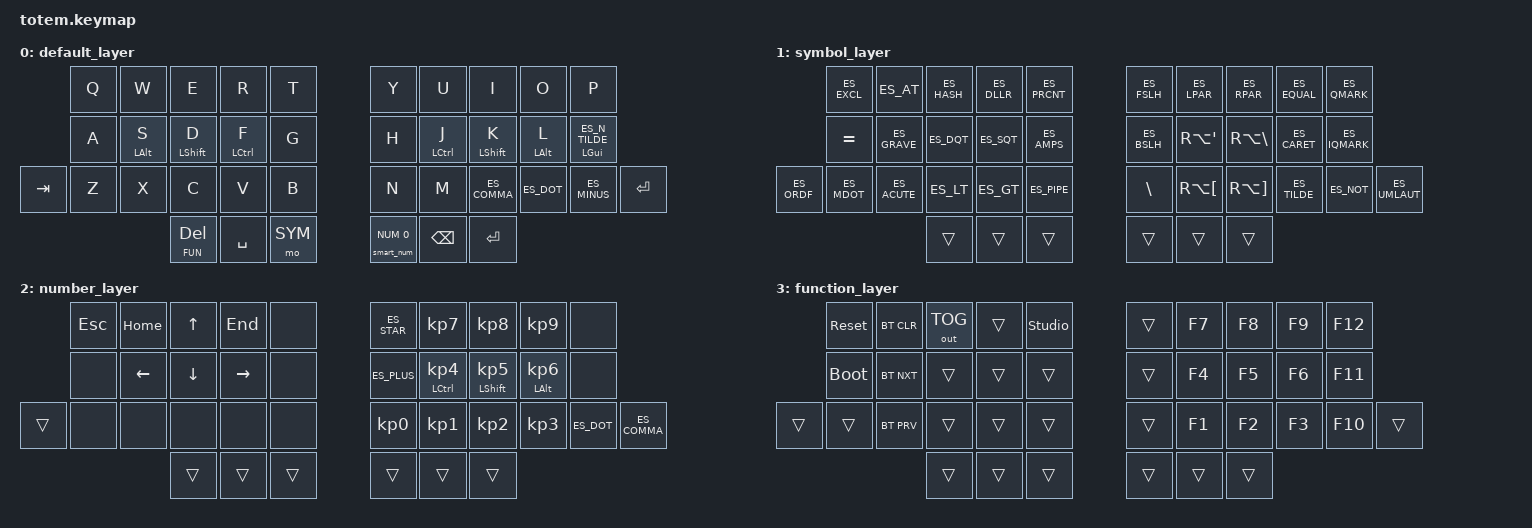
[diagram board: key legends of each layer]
//
//                                                        ▀▀▀▀▀     ▀▀▀▀▀          ▀▀█▀▀
//                                                        ▄▀▀▀▄  ▄  ▄▀▀▀▄  ▄  ▄▀▀▀▄  █  ▄▀▀▀▄
//                                                        █   █  █  █   █  █  █   █  █  █   █
//                                                         ▀▀▀   █   ▀▀▀   █   ▀▀▀   ▀   ▀▀▀
//                                                               █      ▄▄▄█▄▄▄    █   █  
//                                                               ▀      █  █  █     █▄█
//                                                             ▀▀▀▀▀    █  █  █      ▀
//                                                                      ▀  ▀  ▀
//
// ▄▄▄▄▄▄▄▄▄▄▄▄▄▄▄▄▄▄▄▄▄▄▄▄▄▄▄▄▄▄▄▄▄▄▄▄▄▄▄▄▄▄▄▄▄▄▄▄▄▄▄▄▄▄▄▄▄▄▄▄▄▄▄▄▄▄▄▄▄▄▄▄▄▄▄▄▄▄▄▄▄▄▄▄▄▄▄▄▄▄▄▄▄▄▄▄▄▄▄▄▄▄▄▄▄▄▄▄▄▄▄▄▄▄▄▄▄▄▄▄▄▄▄▄▄▄▄▄▄▄▄▄▄▄▄▄▄▄▄▄▄▄▄▄▄▄▄▄▄


#include <behaviors.dtsi>
#include <dt-bindings/zmk/keys.h>
#include <dt-bindings/zmk/bt.h>

#include <dt-bindings/zmk/outputs.h>

// Helpers for Spanish layout 
#include "keys_es.h" 
#include "zmk-helpers/helper.h"
// Totem key position helper       
#include "./keypos_totem.h"

// urob/zmk-auto-layer module imports
#include <behaviors/num_word.dtsi>

// Layers definitions
#define BASE 0
#define SYM  1
#define NUM  2
#define FUN  3


#define XXX &none
#define ___ &trans

#define QUICK_TAP_MS 175

#include "combos.dtsi"

/* Global settings */

&caps_word {  
    continue-list = <BACKSPACE ENTER DELETE UNDERSCORE MINUS>;
};

&sk {  // sticky-key config
    release-after-ms = <900>;  // release after 0.6s
    quick-release;             // no double capitalization when rolling keys
};

&sl {  // sticky-layer config
    ignore-modifiers;          // allow chording sticky mods & layers
};

&lt {  // layer-tap config
    flavor = "balanced";
    tapping-term-ms = <200>;
    quick-tap-ms = <QUICK_TAP_MS>;
};

#define MAKE_HRM(NAME, HOLD, TAP, TRIGGER_POS) \
    ZMK_HOLD_TAP(NAME, \
        flavor = "balanced"; \
        tapping-term-ms = <280>; \
        quick-tap-ms = <QUICK_TAP_MS>; \
        require-prior-idle-ms = <150>; \
        bindings = <HOLD>, <TAP>; \
        hold-trigger-key-positions = <TRIGGER_POS>; \
        hold-trigger-on-release; \
    )

MAKE_HRM(hml, &kp, &kp, KEYS_R THUMBS)  // left-hand HRMs
MAKE_HRM(hmr, &kp, &kp, KEYS_L THUMBS)  // right-hand HRMs

// tap: num-word | double-tap: sticky num-layer | hold: num-layer
#define SMART_NUM &smart_num NUM 0
ZMK_HOLD_TAP(smart_num,
    flavor = "balanced";
    tapping-term-ms = <200>;
    quick-tap-ms = <QUICK_TAP_MS>;
    bindings = <&mo>, <&num_dance>;
)
ZMK_TAP_DANCE(num_dance,
    tapping-term-ms = <200>;
    bindings = <&num_word NUM>, <&sl NUM>;  // reverse this for sticky-num on single tap
)

// ▄▄▄▄▄▄▄▄▄▄▄▄▄▄▄▄▄▄▄▄▄▄▄▄▄▄▄▄▄▄▄▄▄▄▄▄▄▄▄▄▄▄▄▄▄▄▄▄▄▄▄▄▄▄▄▄▄▄▄▄▄▄▄▄▄▄▄▄▄▄▄▄▄▄▄▄▄▄▄▄▄▄▄▄▄▄▄▄▄▄▄▄▄▄▄▄▄▄▄▄▄▄▄▄▄▄▄▄▄▄▄▄▄▄▄▄▄▄▄▄▄▄▄▄▄▄▄▄▄▄▄▄▄▄▄▄▄▄▄▄▄▄▄▄▄▄▄▄▄
// ┏━━━━━━━━━━━━━━━━━━━━━━━━━━━━━━━━━━━━━━━┓
ZMK_LAYER(default_layer,
// ┗━━━━━━━━━━━━━━━━━━━━━━━━━━━━━━━━━━━━━━━┛
//             ┏━━━━━━━━━━━┳━━━━━━━━━━━┳━━━━━━━━━━━┳━━━━━━━━━━━┳━━━━━━━━━━━┓   ┏━━━━━━━━━━━┳━━━━━━━━━━━┳━━━━━━━━━━━┳━━━━━━━━━━━┳━━━━━━━━━━━┓
//             ┃     Q     ┃     W     ┃     E     ┃     R     ┃     T     ┃   ┃     Y     ┃     U     ┃     I     ┃     O     ┃     P     ┃
//             ┣━━━━━━━━━━━╋━━━━━━━━━━━╋━━━━━━━━━━━╋━━━━━━━━━━━╋━━━━━━━━━━━┫   ┣━━━━━━━━━━━╋━━━━━━━━━━━╋━━━━━━━━━━━╋━━━━━━━━━━━╋━━━━━━━━━━━┫
//             ┃     A     ┃   S/ALT   ┃  D/SHFT   ┃   F/CTRL  ┃     G     ┃   ┃     H     ┃   J/CTRL  ┃  K/SHFT   ┃   L/ALT   ┃   Ñ/GUI   ┃ 
// ┏━━━━━━━━━━━╋━━━━━━━━━━━╋━━━━━━━━━━━╋━━━━━━━━━━━╋━━━━━━━━━━━╋━━━━━━━━━━━┫   ┣━━━━━━━━━━━╋━━━━━━━━━━━╋━━━━━━━━━━━╋━━━━━━━━━━━╋━━━━━━━━━━━╋━━━━━━━━━━━┓
// ┃    TAB    ┃     Z     ┃     X     ┃     C     ┃     V     ┃     B     ┃   ┃     N     ┃     M     ┃     ,     ┃     .     ┃     -     ┃    RET    ┃
// ┗━━━━━━━━━━━┻━━━━━━━━━━━┻━━━━━━━━━━━╋━━━━━━━━━━━╋━━━━━━━━━━━╋━━━━━━━━━━━┫   ┣━━━━━━━━━━━╋━━━━━━━━━━━╋━━━━━━━━━━━╋━━━━━━━━━━━┻━━━━━━━━━━━┻━━━━━━━━━━━┛
//                                     ┃  DEL/FUN  ┃   SPACE   ┃    SYM    ┃   ┃    NUM    ┃    BSPC   ┃    RET    ┃
//                                     ┗━━━━━━━━━━━┻━━━━━━━━━━━┻━━━━━━━━━━━┛   ┗━━━━━━━━━━━┻━━━━━━━━━━━┻━━━━━━━━━━━┛
                &kp Q       &kp W       &kp E       &kp R       &kp T           &kp Y       &kp U       &kp I       &kp O       &kp P
                &kp A       &hml LALT S &hml LSHFT D &hml LCTRL F &kp G         &kp H       &hmr LCTRL J &hmr LSHFT K &hmr LALT L  &hmr LGUI ES_N_TILDE
    &kp TAB     &kp Z       &kp X       &kp C       &kp V       &kp B           &kp N       &kp M       &kp ES_COMMA &kp ES_DOT &kp ES_MINUS &kp RET
                                        &lt FUN DEL &kp SPACE   &mo SYM         SMART_NUM   &kp BSPC    &kp RET       
)
// ▄▄▄▄▄▄▄▄▄▄▄▄▄▄▄▄▄▄▄▄▄▄▄▄▄▄▄▄▄▄▄▄▄▄▄▄▄▄▄▄▄▄▄▄▄▄▄▄▄▄▄▄▄▄▄▄▄▄▄▄▄▄▄▄▄▄▄▄▄▄▄▄▄▄▄▄▄▄▄▄▄▄▄▄▄▄▄▄▄▄▄▄▄▄▄▄▄▄▄▄▄▄▄▄▄▄▄▄▄▄▄▄▄▄▄▄▄▄▄▄▄▄▄▄▄▄▄▄▄▄▄▄▄▄▄▄▄▄▄▄▄▄▄▄▄▄▄▄▄
// ┏━━━━━━━━━━━━━━━━━━━━━━━━━━━━━━━━━━━━━━━┓
ZMK_LAYER(symbol_layer,
// ┗━━━━━━━━━━━━━━━━━━━━━━━━━━━━━━━━━━━━━━━┛
//             ┏━━━━━━━━━━━┳━━━━━━━━━━━┳━━━━━━━━━━━┳━━━━━━━━━━━┳━━━━━━━━━━━┓   ┏━━━━━━━━━━━┳━━━━━━━━━━━┳━━━━━━━━━━━┳━━━━━━━━━━━┳━━━━━━━━━━━┓
//             ┃     !     ┃     @     ┃     #     ┃     $     ┃     %     ┃   ┃     /     ┃     (     ┃     )     ┃     =     ┃     ?     ┃
//             ┣━━━━━━━━━━━╋━━━━━━━━━━━╋━━━━━━━━━━━╋━━━━━━━━━━━╋━━━━━━━━━━━┫   ┣━━━━━━━━━━━╋━━━━━━━━━━━╋━━━━━━━━━━━╋━━━━━━━━━━━╋━━━━━━━━━━━┫
//             ┃     ¡     ┃     `     ┃     "     ┃     '     ┃     &     ┃   ┃     \     ┃     {     ┃     }     ┃     ^     ┃     ¿     ┃
// ┏━━━━━━━━━━━╋━━━━━━━━━━━╋━━━━━━━━━━━╋━━━━━━━━━━━╋━━━━━━━━━━━╋━━━━━━━━━━━┫   ┣━━━━━━━━━━━╋━━━━━━━━━━━╋━━━━━━━━━━━╋━━━━━━━━━━━╋━━━━━━━━━━━╋━━━━━━━━━━━┓
// ┃           ┃     ·     ┃     ´     ┃     <     ┃     >     ┃     |     ┃   ┃     ç     ┃     [     ┃     ]     ┃     ~     ┃     ¬     ┃     ¨     ┃
// ┗━━━━━━━━━━━┻━━━━━━━━━━━┻━━━━━━━━━━━╋━━━━━━━━━━━╋━━━━━━━━━━━╋━━━━━━━━━━━┫   ┣━━━━━━━━━━━╋━━━━━━━━━━━╋━━━━━━━━━━━╋━━━━━━━━━━━┻━━━━━━━━━━━┻━━━━━━━━━━━┛
//                                     ┃           ┃           ┃           ┃   ┃           ┃           ┃           ┃
//                                     ┗━━━━━━━━━━━┻━━━━━━━━━━━┻━━━━━━━━━━━┛   ┗━━━━━━━━━━━┻━━━━━━━━━━━┻━━━━━━━━━━━┛
                &kp ES_EXCL &kp ES_AT   &kp ES_HASH &kp ES_DLLR &kp ES_PRCNT    &kp ES_FSLH  &kp ES_LPAR  &kp ES_RPAR  &kp ES_EQUAL &kp ES_QMARK       
                &kp EQUAL   &kp ES_GRAVE &kp ES_DQT &kp ES_SQT  &kp ES_AMPS     &kp ES_BSLH  &kp RA(SQT)  &kp RA(BSLH) &kp ES_CARET &kp ES_IQMARK
    &kp ES_ORDF &kp ES_MDOT &kp ES_ACUTE &kp ES_LT  &kp ES_GT   &kp ES_PIPE     &kp BSLH     &kp RA(LBKT) &kp RA(RBKT) &kp ES_TILDE &kp ES_NOT &kp ES_UMLAUT       
                                            ___        ___        ___            ___         ___         ___      
) 
// ▄▄▄▄▄▄▄▄▄▄▄▄▄▄▄▄▄▄▄▄▄▄▄▄▄▄▄▄▄▄▄▄▄▄▄▄▄▄▄▄▄▄▄▄▄▄▄▄▄▄▄▄▄▄▄▄▄▄▄▄▄▄▄▄▄▄▄▄▄▄▄▄▄▄▄▄▄▄▄▄▄▄▄▄▄▄▄▄▄▄▄▄▄▄▄▄▄▄▄▄▄▄▄▄▄▄▄▄▄▄▄▄▄▄▄▄▄▄▄▄▄▄▄▄▄▄▄▄▄▄▄▄▄▄▄▄▄▄▄▄▄▄▄▄▄▄▄▄▄
// ┏━━━━━━━━━━━━━━━━━━━━━━━━━━━━━━━━━━━━━━━┓
ZMK_LAYER(number_layer,
// ┗━━━━━━━━━━━━━━━━━━━━━━━━━━━━━━━━━━━━━━━┛
//             ┏━━━━━━━━━━━┳━━━━━━━━━━━┳━━━━━━━━━━━┳━━━━━━━━━━━┳━━━━━━━━━━━┓   ┏━━━━━━━━━━━┳━━━━━━━━━━━┳━━━━━━━━━━━┳━━━━━━━━━━━┳━━━━━━━━━━━┓
//             ┃    ESC    ┃   HOME    ┃     UP    ┃    END    ┃           ┃   ┃     *     ┃     7     ┃     8     ┃     9     ┃           ┃
//             ┣━━━━━━━━━━━╋━━━━━━━━━━━╋━━━━━━━━━━━╋━━━━━━━━━━━╋━━━━━━━━━━━┫   ┣━━━━━━━━━━━╋━━━━━━━━━━━╋━━━━━━━━━━━╋━━━━━━━━━━━╋━━━━━━━━━━━┫
//             ┃           ┃   LEFT    ┃    DOWN   ┃   RIGHT   ┃           ┃   ┃     +     ┃     4     ┃     5     ┃     6     ┃           ┃
// ┏━━━━━━━━━━━╋━━━━━━━━━━━╋━━━━━━━━━━━╋━━━━━━━━━━━╋━━━━━━━━━━━╋━━━━━━━━━━━┫   ┣━━━━━━━━━━━╋━━━━━━━━━━━╋━━━━━━━━━━━╋━━━━━━━━━━━╋━━━━━━━━━━━╋━━━━━━━━━━━┓
// ┃           ┃           ┃           ┃           ┃           ┃           ┃   ┃     0     ┃     1     ┃     2     ┃     3     ┃     .     ┃     ,     ┃
// ┗━━━━━━━━━━━┻━━━━━━━━━━━┻━━━━━━━━━━━╋━━━━━━━━━━━╋━━━━━━━━━━━╋━━━━━━━━━━━┫   ┣━━━━━━━━━━━╋━━━━━━━━━━━╋━━━━━━━━━━━╋━━━━━━━━━━━┻━━━━━━━━━━━┻━━━━━━━━━━━┛
//                                     ┃           ┃           ┃           ┃   ┃           ┃           ┃           ┃
//                                     ┗━━━━━━━━━━━┻━━━━━━━━━━━┻━━━━━━━━━━━┛   ┗━━━━━━━━━━━┻━━━━━━━━━━━┻━━━━━━━━━━━┛
                &kp ESC     &kp HOME    &kp UP       &kp END      XXX           &kp ES_STAR &kp KP_N7   &kp KP_N8   &kp KP_N9     XXX
                XXX         &kp LEFT    &kp DOWN     &kp RIGHT    XXX           &kp ES_PLUS &hmr LCTRL KP_N4 &hmr LSHFT KP_N5 &hmr LALT KP_N6 XXX
    ___         XXX         XXX         XXX          XXX          XXX           &kp KP_N0   &kp KP_N1   &kp KP_N2   &kp KP_N3     &kp ES_DOT  &kp ES_COMMA
                                        ___          ___          ___           ___         ___         ___      
)
// ▄▄▄▄▄▄▄▄▄▄▄▄▄▄▄▄▄▄▄▄▄▄▄▄▄▄▄▄▄▄▄▄▄▄▄▄▄▄▄▄▄▄▄▄▄▄▄▄▄▄▄▄▄▄▄▄▄▄▄▄▄▄▄▄▄▄▄▄▄▄▄▄▄▄▄▄▄▄▄▄▄▄▄▄▄▄▄▄▄▄▄▄▄▄▄▄▄▄▄▄▄▄▄▄▄▄▄▄▄▄▄▄▄▄▄▄▄▄▄▄▄▄▄▄▄▄▄▄▄▄▄▄▄▄▄▄▄▄▄▄▄▄▄▄▄▄▄▄▄
// ┏━━━━━━━━━━━━━━━━━━━━━━━━━━━━━━━━━━━━━━━┓
ZMK_LAYER(function_layer,
// ┗━━━━━━━━━━━━━━━━━━━━━━━━━━━━━━━━━━━━━━━┛
//             ┏━━━━━━━━━━━┳━━━━━━━━━━━┳━━━━━━━━━━━┳━━━━━━━━━━━┳━━━━━━━━━━━┓   ┏━━━━━━━━━━━┳━━━━━━━━━━━┳━━━━━━━━━━━┳━━━━━━━━━━━┳━━━━━━━━━━━┓
//             ┃   RESET   ┃ BT CLEAR  ┃  OUT TOG  ┃           ┃           ┃   ┃           ┃    F7     ┃    F8     ┃    F9     ┃    F12    ┃
//             ┣━━━━━━━━━━━╋━━━━━━━━━━━╋━━━━━━━━━━━╋━━━━━━━━━━━╋━━━━━━━━━━━┫   ┣━━━━━━━━━━━╋━━━━━━━━━━━╋━━━━━━━━━━━╋━━━━━━━━━━━╋━━━━━━━━━━━┫
//             ┃ BOOTLOAD  ┃ BT NEXT   ┃           ┃           ┃           ┃   ┃           ┃    F4     ┃    F5     ┃    F6     ┃    F11    ┃
// ┏━━━━━━━━━━━╋━━━━━━━━━━━╋━━━━━━━━━━━╋━━━━━━━━━━━╋━━━━━━━━━━━╋━━━━━━━━━━━┫   ┣━━━━━━━━━━━╋━━━━━━━━━━━╋━━━━━━━━━━━╋━━━━━━━━━━━╋━━━━━━━━━━━╋━━━━━━━━━━━┓
// ┃           ┃           ┃ BT PREV   ┃           ┃           ┃           ┃   ┃           ┃    F1     ┃    F2     ┃    F3     ┃    F10    ┃           ┃
// ┗━━━━━━━━━━━┻━━━━━━━━━━━┻━━━━━━━━━━━╋━━━━━━━━━━━╋━━━━━━━━━━━╋━━━━━━━━━━━┫   ┣━━━━━━━━━━━╋━━━━━━━━━━━╋━━━━━━━━━━━╋━━━━━━━━━━━┻━━━━━━━━━━━┻━━━━━━━━━━━┛
//                                     ┃           ┃           ┃           ┃   ┃           ┃           ┃           ┃
//                                     ┗━━━━━━━━━━━┻━━━━━━━━━━━┻━━━━━━━━━━━┛   ┗━━━━━━━━━━━┻━━━━━━━━━━━┻━━━━━━━━━━━┛
                &sys_reset  &bt BT_CLR &out OUT_TOG &trans      &studio_unlock  &trans      &kp F7      &kp F8      &kp F9      &kp F12
                &bootloader &bt BT_NXT  &trans      &trans      &trans          &trans      &kp F4      &kp F5      &kp F6      &kp F11  
    &trans      &trans      &bt BT_PRV  &trans      &trans      &trans          &trans      &kp F1      &kp F2      &kp F3      &kp F10     &trans         
                                        &trans      &trans      &trans          &trans      &trans      &trans      
)
// ▄▄▄▄▄▄▄▄▄▄▄▄▄▄▄▄▄▄▄▄▄▄▄▄▄▄▄▄▄▄▄▄▄▄▄▄▄▄▄▄▄▄▄▄▄▄▄▄▄▄▄▄▄▄▄▄▄▄▄▄▄▄▄▄▄▄▄▄▄▄▄▄▄▄▄▄▄▄▄▄▄▄▄▄▄▄▄▄▄▄▄▄▄▄▄▄▄▄▄▄▄▄▄▄▄▄▄▄▄▄▄▄▄▄▄▄▄▄▄▄▄▄▄▄▄▄▄▄▄▄▄▄▄▄▄▄▄▄▄▄▄▄▄▄▄▄▄▄▄
